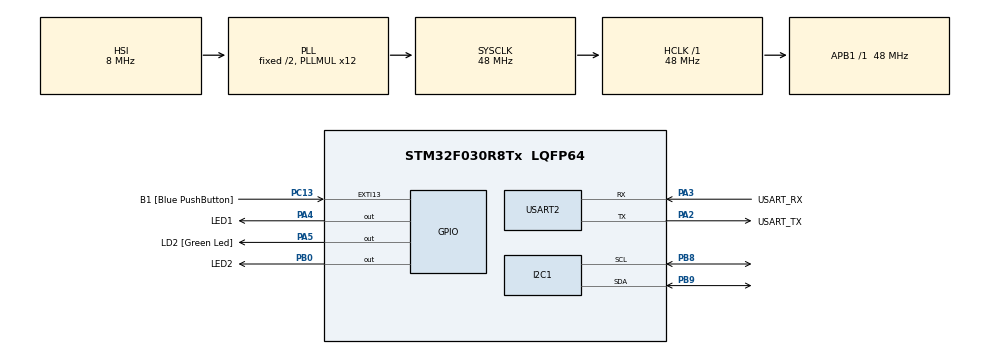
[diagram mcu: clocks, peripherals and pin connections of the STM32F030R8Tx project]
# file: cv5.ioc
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Dma.Request0=USART2_RX
Dma.USART2_RX.0.Direction=DMA_PERIPH_TO_MEMORY
Dma.USART2_RX.0.Instance=DMA1_Channel5
Dma.USART2_RX.0.MemDataAlignment=DMA_MDATAALIGN_BYTE
Dma.USART2_RX.0.MemInc=DMA_MINC_ENABLE
Dma.USART2_RX.0.Mode=DMA_CIRCULAR
Dma.USART2_RX.0.PeriphDataAlignment=DMA_PDATAALIGN_BYTE
Dma.USART2_RX.0.PeriphInc=DMA_PINC_DISABLE
Dma.USART2_RX.0.Priority=DMA_PRIORITY_LOW
Mcu.Family=STM32F0
Mcu.Name=STM32F030R8Tx
Mcu.Package=LQFP64
NVIC.DMA1_Channel4_5_IRQn=true\:0\:0\:false\:false\:true\:false\:true
PA13.GPIO_Label=TMS
PA13.Mode=Serial_Wire
PA13.Signal=SYS_SWDIO
PA14.GPIO_Label=TCK
PA14.Mode=Serial_Wire
PA14.Signal=SYS_SWCLK
PA2.GPIO_Label=USART_TX
PA2.GPIO_Mode=GPIO_MODE_AF_PP
PA2.GPIO_PuPd=GPIO_NOPULL
PA2.GPIO_Speed=GPIO_SPEED_FREQ_LOW
PA2.Mode=Asynchronous
PA2.Signal=USART2_TX
PA3.GPIO_Label=USART_RX
PA3.GPIO_Mode=GPIO_MODE_AF_PP
PA3.GPIO_PuPd=GPIO_NOPULL
PA3.GPIO_Speed=GPIO_SPEED_FREQ_LOW
PA3.Mode=Asynchronous
PA3.Signal=USART2_RX
PA4.GPIO_Label=LED1
PA4.Signal=GPIO_Output
PA5.GPIO_Label=LD2 [Green Led]
PA5.GPIO_Mode=GPIO_MODE_OUTPUT_PP
PA5.GPIO_PuPd=GPIO_NOPULL
PA5.GPIO_Speed=GPIO_SPEED_FREQ_LOW
PA5.Signal=GPIO_Output
PB0.GPIO_Label=LED2
PB0.Signal=GPIO_Output
PB8.Mode=I2C
PB8.Signal=I2C1_SCL
PB9.Mode=I2C
PB9.Signal=I2C1_SDA
PC13.GPIO_Label=B1 [Blue PushButton]
PC13.GPIO_ModeDefaultEXTI=GPIO_MODE_IT_FALLING
PC13.Signal=GPXTI13
PC14-OSC32_IN.Mode=LSE-External-Oscillator
PC14-OSC32_IN.Signal=RCC_OSC32_IN
PC15-OSC32_OUT.Mode=LSE-External-Oscillator
PC15-OSC32_OUT.Signal=RCC_OSC32_OUT
PF0-OSC_IN.Mode=HSE-External-Clock-Source
PF0-OSC_IN.Signal=RCC_OSC_IN
PF1-OSC_OUT.Signal=RCC_OSC_OUT
ProjectManager.HeapSize=0x200
ProjectManager.StackSize=0x400
ProjectManager.TargetToolchain=STM32CubeIDE
RCC.AHBFreq_Value=48000000
RCC.APB1Freq_Value=48000000
RCC.APB1TimFreq_Value=48000000
RCC.HCLKFreq_Value=48000000
RCC.PLLMUL=RCC_PLL_MUL12
RCC.SYSCLKFreq_VALUE=48000000
RCC.SYSCLKSource=RCC_SYSCLKSOURCE_PLLCLK
USART2.VirtualMode-Asynchronous=VM_ASYNC
board=NUCLEO-F030R8

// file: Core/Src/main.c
/* USER CODE BEGIN Header */
/**
 ******************************************************************************
 * @file           : main.c
 * @brief          : Main program body
 ******************************************************************************
 * @attention
 *
 * <h2><center>&copy; Copyright (c) 2021 STMicroelectronics.
 * All rights reserved.</center></h2>
 *
 * This software component is licensed by ST under BSD 3-Clause license,
 * the "License"; You may not use this file except in compliance with the
 * License. You may obtain a copy of the License at:
 *                        opensource.org/licenses/BSD-3-Clause
 *
 ******************************************************************************
 */
/* USER CODE END Header */
#include "main.h"

/* USER CODE BEGIN Includes */
#include <stdio.h>
#include <string.h>
#include <stdlib.h>
/* USER CODE END Includes */

/* USER CODE BEGIN PD */
#define RX_BUFFER_LEN 64
#define CMD_BUFFER_LEN 256
#define EEPROM_ADDR 0xA0
/* USER CODE END PD */

/* USER CODE BEGIN PM */
#define uart_rx_write_ptr (RX_BUFFER_LEN - hdma_usart2_rx.Instance->CNDTR)
/* USER CODE END PM */

I2C_HandleTypeDef hi2c1;

UART_HandleTypeDef huart2;
DMA_HandleTypeDef hdma_usart2_rx;

/* USER CODE BEGIN PV */
static uint8_t uart_rx_buf[RX_BUFFER_LEN];
static volatile uint16_t uart_rx_read_ptr = 0;
/* USER CODE END PV */

void SystemClock_Config(void);
static void MX_GPIO_Init(void);
static void MX_DMA_Init(void);
static void MX_USART2_UART_Init(void);
static void MX_I2C1_Init(void);
/* USER CODE BEGIN PFP */
static void uart_byte_available(uint8_t c);
static void uart_process_command(char *cmd);
/* USER CODE END PFP */

/* USER CODE BEGIN 0 */
int _write(int file, char const *buf, int n)
{
	/* stdout redirection to UART2 */
	HAL_UART_Transmit(&huart2, (uint8_t*)(buf), n, HAL_MAX_DELAY);
	return n;
}

static void uart_byte_available(uint8_t c)
{
	static uint16_t cnt;
	static char data[CMD_BUFFER_LEN];
	if (cnt < CMD_BUFFER_LEN && c >= 32 && c <= 126) data[cnt++] = c;
	if ((c == '\n' || c == '\r') && cnt > 0) {
		data[cnt] = '\0';
		uart_process_command(data);
		cnt = 0;
	}
}

static void uart_process_command(char *cmd){
	uint8_t status_led1;
	uint8_t status_led2;
	uint16_t addr;
	uint8_t value;
	uint8_t valueDump[16];
	char *token;
	token = strtok(cmd, " ");

	if (strcasecmp(token, "HELLO") == 0) {
		printf("Komunikace OK\n");
	}else if (strcasecmp(token, "LED1") == 0){
		token = strtok(NULL, " ");
		if (strcasecmp(token, "ON") == 0){
			HAL_GPIO_WritePin(LED1_GPIO_Port, LED1_Pin, 1);
		}else if (strcasecmp(token, "OFF") == 0){
			HAL_GPIO_WritePin(LED1_GPIO_Port, LED1_Pin, 0);
		}
	}else if (strcasecmp(token, "LED2") == 0){
		token = strtok(NULL, " ");
		if (strcasecmp(token, "ON") == 0){
			HAL_GPIO_WritePin(LED2_GPIO_Port, LED2_Pin, 1);
		}else if (strcasecmp(token, "OFF") == 0){
			HAL_GPIO_WritePin(LED2_GPIO_Port, LED2_Pin, 0);
		}
	}else if (strcasecmp(token, "STATUS") == 0){
		status_led1 = HAL_GPIO_ReadPin(LED1_GPIO_Port, LED1_Pin);
		status_led2 = HAL_GPIO_ReadPin(LED2_GPIO_Port, LED2_Pin);
		if (status_led1 == 1){
			printf("LED1 is ON...\n");
		}else{
			printf("LED1 is OFF...\n");
		}
		if (status_led2 == 1){
			printf("LED2 is ON...\n");
		}else{
			printf("LED2 is OFF...\n");
		}
	}else if(strcasecmp(token, "READ") == 0){
		token = strtok(NULL, " ");
		addr = atoi(token);
		HAL_I2C_Mem_Read(&hi2c1, EEPROM_ADDR, addr, I2C_MEMADD_SIZE_16BIT,  &value, 1, 1000);
		printf("On address %02X is %02X \n", addr, value);
	}else if(strcasecmp(token, "WRITE") == 0){
		token = strtok(NULL, " ");
		addr = atoi(token);
		token = strtok(NULL, " ");
		value = atoi(token);
		HAL_I2C_Mem_Write(&hi2c1, EEPROM_ADDR, addr, I2C_MEMADD_SIZE_16BIT, &value, 1, 1000);
		while (HAL_I2C_IsDeviceReady(&hi2c1, EEPROM_ADDR, 300, 1000) == HAL_TIMEOUT) {}
		printf("Written... \n");
	}else if(strcasecmp(token, "DUMP") == 0){
		HAL_I2C_Mem_Read(&hi2c1, EEPROM_ADDR, 0, I2C_MEMADD_SIZE_16BIT,  valueDump, 16, 1000);
		for (int i = 0; i < 16; i++){
			printf("%02X ", valueDump[i]);
			if ((i % 8) == 7) printf("\n");
		}
	}
}
/* USER CODE END 0 */

int main(void)
{

	/* MCU Configuration--------------------------------------------------------*/

	/* Reset of all peripherals, Initializes the Flash interface and the Systick. */
	HAL_Init();

	/* Configure the system clock */
	SystemClock_Config();

	/* Initialize all configured peripherals */
	MX_GPIO_Init();
	MX_DMA_Init();
	MX_USART2_UART_Init();
	MX_I2C1_Init();
	/* USER CODE BEGIN 2 */
	HAL_UART_Receive_DMA(&huart2, uart_rx_buf, RX_BUFFER_LEN);
	/* USER CODE END 2 */

	/* Infinite loop */
	while (1)
	{

		/* USER CODE BEGIN 3 */
		while (uart_rx_read_ptr != uart_rx_write_ptr) {
			uint8_t b = uart_rx_buf[uart_rx_read_ptr];
			if (++uart_rx_read_ptr >= RX_BUFFER_LEN) uart_rx_read_ptr = 0; // increase read pointer
			uart_byte_available(b); // process every received byte with the RX state machine
		}

	}
	/* USER CODE END 3 */
}

void SystemClock_Config(void)
{
	RCC_OscInitTypeDef RCC_OscInitStruct = {0};
	RCC_ClkInitTypeDef RCC_ClkInitStruct = {0};
	RCC_PeriphCLKInitTypeDef PeriphClkInit = {0};

	/** Initializes the RCC Oscillators according to the specified parameters
	 * in the RCC_OscInitTypeDef structure.
	 */
	RCC_OscInitStruct.OscillatorType = RCC_OSCILLATORTYPE_HSI;
	RCC_OscInitStruct.HSIState = RCC_HSI_ON;
	RCC_OscInitStruct.HSICalibrationValue = RCC_HSICALIBRATION_DEFAULT;
	RCC_OscInitStruct.PLL.PLLState = RCC_PLL_ON;
	RCC_OscInitStruct.PLL.PLLSource = RCC_PLLSOURCE_HSI;
	RCC_OscInitStruct.PLL.PLLMUL = RCC_PLL_MUL12;
	RCC_OscInitStruct.PLL.PREDIV = RCC_PREDIV_DIV1;
	if (HAL_RCC_OscConfig(&RCC_OscInitStruct) != HAL_OK)
	{
		Error_Handler();
	}
	/** Initializes the CPU, AHB and APB buses clocks
	 */
	RCC_ClkInitStruct.ClockType = RCC_CLOCKTYPE_HCLK|RCC_CLOCKTYPE_SYSCLK
			|RCC_CLOCKTYPE_PCLK1;
	RCC_ClkInitStruct.SYSCLKSource = RCC_SYSCLKSOURCE_PLLCLK;
	RCC_ClkInitStruct.AHBCLKDivider = RCC_SYSCLK_DIV1;
	RCC_ClkInitStruct.APB1CLKDivider = RCC_HCLK_DIV1;

	if (HAL_RCC_ClockConfig(&RCC_ClkInitStruct, FLASH_LATENCY_1) != HAL_OK)
	{
		Error_Handler();
	}
	PeriphClkInit.PeriphClockSelection = RCC_PERIPHCLK_I2C1;
	PeriphClkInit.I2c1ClockSelection = RCC_I2C1CLKSOURCE_HSI;
	if (HAL_RCCEx_PeriphCLKConfig(&PeriphClkInit) != HAL_OK)
	{
		Error_Handler();
	}
}

static void MX_I2C1_Init(void)
{

	hi2c1.Instance = I2C1;
	hi2c1.Init.Timing = 0x2000090E;
	hi2c1.Init.OwnAddress1 = 0;
	hi2c1.Init.AddressingMode = I2C_ADDRESSINGMODE_7BIT;
	hi2c1.Init.DualAddressMode = I2C_DUALADDRESS_DISABLE;
	hi2c1.Init.OwnAddress2 = 0;
	hi2c1.Init.OwnAddress2Masks = I2C_OA2_NOMASK;
	hi2c1.Init.GeneralCallMode = I2C_GENERALCALL_DISABLE;
	hi2c1.Init.NoStretchMode = I2C_NOSTRETCH_DISABLE;
	if (HAL_I2C_Init(&hi2c1) != HAL_OK)
	{
		Error_Handler();
	}
	/** Configure Analogue filter
	 */
	if (HAL_I2CEx_ConfigAnalogFilter(&hi2c1, I2C_ANALOGFILTER_ENABLE) != HAL_OK)
	{
		Error_Handler();
	}
	/** Configure Digital filter
	 */
	if (HAL_I2CEx_ConfigDigitalFilter(&hi2c1, 0) != HAL_OK)
	{
		Error_Handler();
	}

}

static void MX_USART2_UART_Init(void)
{

	huart2.Instance = USART2;
	huart2.Init.BaudRate = 38400;
	huart2.Init.WordLength = UART_WORDLENGTH_8B;
	huart2.Init.StopBits = UART_STOPBITS_1;
	huart2.Init.Parity = UART_PARITY_NONE;
	huart2.Init.Mode = UART_MODE_TX_RX;
	huart2.Init.HwFlowCtl = UART_HWCONTROL_NONE;
	huart2.Init.OverSampling = UART_OVERSAMPLING_16;
	huart2.Init.OneBitSampling = UART_ONE_BIT_SAMPLE_DISABLE;
	huart2.AdvancedInit.AdvFeatureInit = UART_ADVFEATURE_NO_INIT;
	if (HAL_UART_Init(&huart2) != HAL_OK)
	{
		Error_Handler();
	}

}

static void MX_DMA_Init(void)
{

	/* DMA controller clock enable */
	__HAL_RCC_DMA1_CLK_ENABLE();

	/* DMA interrupt init */
	/* DMA1_Channel4_5_IRQn interrupt configuration */
	HAL_NVIC_SetPriority(DMA1_Channel4_5_IRQn, 0, 0);
	HAL_NVIC_EnableIRQ(DMA1_Channel4_5_IRQn);

}

static void MX_GPIO_Init(void)
{
	GPIO_InitTypeDef GPIO_InitStruct = {0};

	/* GPIO Ports Clock Enable */
	__HAL_RCC_GPIOC_CLK_ENABLE();
	__HAL_RCC_GPIOF_CLK_ENABLE();
	__HAL_RCC_GPIOA_CLK_ENABLE();
	__HAL_RCC_GPIOB_CLK_ENABLE();

	/*Configure GPIO pin Output Level */
	HAL_GPIO_WritePin(GPIOA, LED1_Pin|LD2_Pin, GPIO_PIN_RESET);

	/*Configure GPIO pin Output Level */
	HAL_GPIO_WritePin(LED2_GPIO_Port, LED2_Pin, GPIO_PIN_RESET);

	/*Configure GPIO pin : B1_Pin */
	GPIO_InitStruct.Pin = B1_Pin;
	GPIO_InitStruct.Mode = GPIO_MODE_IT_FALLING;
	GPIO_InitStruct.Pull = GPIO_NOPULL;
	HAL_GPIO_Init(B1_GPIO_Port, &GPIO_InitStruct);

	/*Configure GPIO pins : LED1_Pin LD2_Pin */
	GPIO_InitStruct.Pin = LED1_Pin|LD2_Pin;
	GPIO_InitStruct.Mode = GPIO_MODE_OUTPUT_PP;
	GPIO_InitStruct.Pull = GPIO_NOPULL;
	GPIO_InitStruct.Speed = GPIO_SPEED_FREQ_LOW;
	HAL_GPIO_Init(GPIOA, &GPIO_InitStruct);

	/*Configure GPIO pin : LED2_Pin */
	GPIO_InitStruct.Pin = LED2_Pin;
	GPIO_InitStruct.Mode = GPIO_MODE_OUTPUT_PP;
	GPIO_InitStruct.Pull = GPIO_NOPULL;
	GPIO_InitStruct.Speed = GPIO_SPEED_FREQ_LOW;
	HAL_GPIO_Init(LED2_GPIO_Port, &GPIO_InitStruct);

}

void Error_Handler(void)
{
	__disable_irq();
	while (1)
	{
	}
}

/************************ (C) COPYRIGHT STMicroelectronics *****END OF FILE****/
